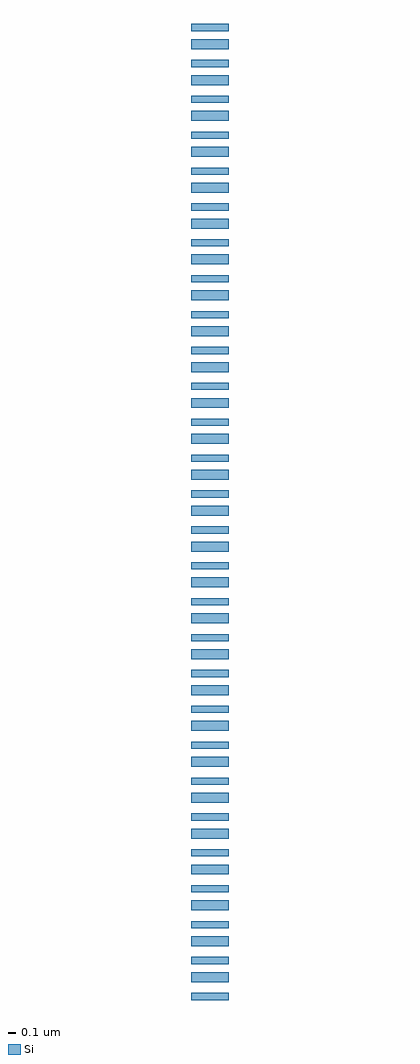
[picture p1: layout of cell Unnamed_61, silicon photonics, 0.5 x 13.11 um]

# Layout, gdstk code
import gdstk
lib = gdstk.Library(unit=1e-6, precision=1e-09)
def R(c, l, rs):  # rectangles x0, y0, x1, y1
    for r in rs: c.add(gdstk.rectangle(r[:2], r[2:], *l))
def A(c, l, x, y, w, h, nx, ny, dx, dy):  # array of equal rectangles
    R(c, l, [(x+i*dx, y+j*dy, x+i*dx+w, y+j*dy+h) for i in range(nx) for j in range(ny)])
Si = (1, 0)

unnamed_61 = lib.new_cell('Unnamed_61')
A(unnamed_61, Si, -0.25, 0, 0.5, 0.096, 1, 28, 0, 0.482)
A(unnamed_61, Si, -0.25, 0.24, 0.5, 0.134, 1, 27, 0, 0.482)

lib.write_gds('Unnamed_61.gds')
